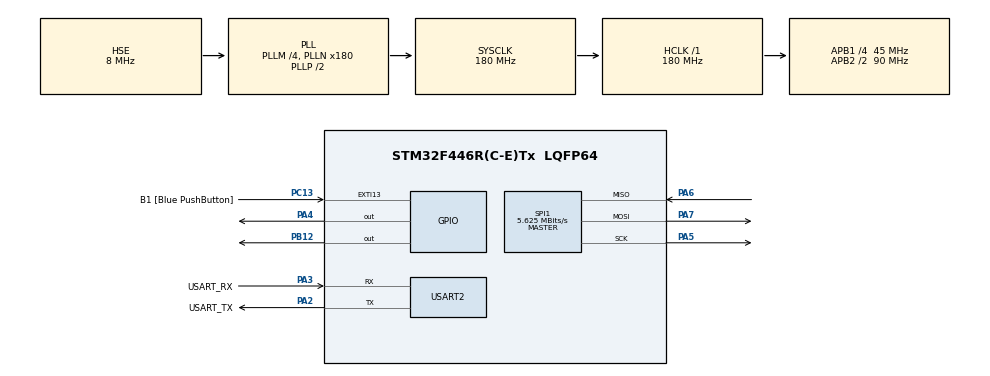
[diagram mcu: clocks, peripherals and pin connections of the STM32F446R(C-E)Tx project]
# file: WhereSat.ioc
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Mcu.Family=STM32F4
Mcu.Name=STM32F446R(C-E)Tx
Mcu.Package=LQFP64
NVIC.PriorityGroup=NVIC_PRIORITYGROUP_0
PA13.GPIO_Label=TMS
PA13.Mode=Serial_Wire
PA13.Signal=SYS_JTMS-SWDIO
PA14.GPIO_Label=TCK
PA14.Mode=Serial_Wire
PA14.Signal=SYS_JTCK-SWCLK
PA2.GPIO_Label=USART_TX
PA2.Mode=Asynchronous
PA2.Signal=USART2_TX
PA3.GPIO_Label=USART_RX
PA3.Mode=Asynchronous
PA3.Signal=USART2_RX
PA4.Signal=GPIO_Output
PA5.Mode=Full_Duplex_Master
PA5.Signal=SPI1_SCK
PA6.Mode=Full_Duplex_Master
PA6.Signal=SPI1_MISO
PA7.Mode=Full_Duplex_Master
PA7.Signal=SPI1_MOSI
PB12.Signal=GPIO_Output
PB13.Signal=SPI2_SCK
PB14.Signal=SPI2_MISO
PB15.Signal=SPI2_MOSI
PB3.GPIO_Label=SWO
PB3.Signal=SYS_JTDO-SWO
PC13.GPIO_Label=B1 [Blue PushButton]
PC13.GPIO_ModeDefaultEXTI=GPIO_MODE_IT_FALLING
PC13.Signal=GPXTI13
PC14-OSC32_IN.Mode=LSE-External-Oscillator
PC14-OSC32_IN.Signal=RCC_OSC32_IN
PC15-OSC32_OUT.Mode=LSE-External-Oscillator
PC15-OSC32_OUT.Signal=RCC_OSC32_OUT
PH0-OSC_IN.Mode=HSE-External-Oscillator
PH0-OSC_IN.Signal=RCC_OSC_IN
PH1-OSC_OUT.Mode=HSE-External-Oscillator
PH1-OSC_OUT.Signal=RCC_OSC_OUT
ProjectManager.HeapSize=0x200
ProjectManager.StackSize=0x400
ProjectManager.TargetToolchain=STM32CubeIDE
RCC.48MHZClocksFreq_Value=84000000
RCC.AHBFreq_Value=180000000
RCC.APB1CLKDivider=RCC_HCLK_DIV4
RCC.APB1Freq_Value=45000000
RCC.APB1TimFreq_Value=90000000
RCC.APB2CLKDivider=RCC_HCLK_DIV2
RCC.APB2Freq_Value=90000000
RCC.APB2TimFreq_Value=180000000
RCC.CortexFreq_Value=180000000
RCC.FLatency-AdvancedSettings=FLASH_LATENCY_5
RCC.HCLKFreq_Value=180000000
RCC.HSE_VALUE=8000000
RCC.HSI_VALUE=16000000
RCC.PLLM=4
RCC.PLLN=180
RCC.PLLSourceVirtual=RCC_PLLSOURCE_HSE
RCC.SYSCLKFreq_VALUE=180000000
RCC.SYSCLKSource=RCC_SYSCLKSOURCE_PLLCLK
RCC.USBFreq_Value=180000000
RCC.VCOOutputFreq_Value=360000000
SPI1.BaudRatePrescaler=SPI_BAUDRATEPRESCALER_16
SPI1.CalculateBaudRate=5.625 MBits/s
SPI1.Direction=SPI_DIRECTION_2LINES
SPI1.Mode=SPI_MODE_MASTER
SPI1.VirtualType=VM_MASTER
USART2.VirtualMode=VM_ASYNC
board=NUCLEO-F446RE

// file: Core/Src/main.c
/* USER CODE BEGIN Header */
/**
  ******************************************************************************
  * @file           : main.c
  * @brief          : Main program body
  ******************************************************************************
  * @attention
  *
  * Copyright (c) 2026 STMicroelectronics.
  * All rights reserved.
  *
  * This software is licensed under terms that can be found in the LICENSE file
  * in the root directory of this software component.
  * If no LICENSE file comes with this software, it is provided AS-IS.
  *
  ******************************************************************************
  */
/* USER CODE END Header */
#include "main.h"
#include "spi.h"
#include "usart.h"
#include "gpio.h"

/* USER CODE BEGIN Includes */
#include <stdio.h>
#include "fpga_interface.h"
#include "camera_geometry.h"
#include "test_suite.h"
#include "mock_fpga.h"
/* USER CODE END Includes */

void SystemClock_Config(void);

/* USER CODE BEGIN 0 */
/**
 * @brief Redirects standard output (printf) to UART2.
 *
 * This function overrides the weak implementation in the syscalls file.
 * It allows us to use printf() to send debug messages to the PC terminal.
 *
 * @param ch The character to send
 * @return int The character sent
 */
int __io_putchar(int ch) {
    // External handle for UART2 (defined in usart.c)
    extern UART_HandleTypeDef huart2;

    // Transmit 1 byte over UART2 with a 10ms timeout
    HAL_UART_Transmit(&huart2, (uint8_t *)&ch, 1, 10);
    return ch;
}
/* USER CODE END 0 */

int main(void)
{

  /* MCU Configuration--------------------------------------------------------*/

  /* Reset of all peripherals, Initializes the Flash interface and the Systick. */
  HAL_Init();

  /* Configure the system clock */
  SystemClock_Config();

  /* Initialize all configured peripherals */
  MX_GPIO_Init();
  MX_SPI1_Init();
  MX_USART2_UART_Init();
  /* USER CODE BEGIN 2 */
  // Ensure SPI Chip Select (PA4) starts HIGH (Inactive)
  HAL_GPIO_WritePin(GPIOA, GPIO_PIN_4, GPIO_PIN_SET);

  // Day 1 Verification Message
  printf("\r\n====================================\r\n");
  printf(" WHERESAT STAR TRACKER - INITIALIZED\r\n");
  printf(" System Clock: %lu MHz\r\n", HAL_RCC_GetHClockFreq() / 1000000);
  printf(" UART2: 115200 Baud - OK\r\n");
  printf(" SPI1: Master Mode - OK\r\n");
  printf("====================================\r\n");
  test_camera_geometry();
  /* USER CODE END 2 */

  /* Infinite loop */
  /* USER CODE BEGIN WHILE */
    FPGA_Packet_t current_packet;
    Vector3_t star_vectors[MAX_CENTROIDS];

    while (1)
    {
        // --- OPTION A: REAL HARDWARE ---
        // HAL_StatusTypeDef status = fpga_receive_centroids(&current_packet);

        // --- OPTION B: MOCK DATA (Use this for Day 1-5 testing) ---
        load_test_centroids(&current_packet);
        HAL_StatusTypeDef status = HAL_OK;

        if (status == HAL_OK) {
            if (fpga_validate_packet(&current_packet)) {
                // This will now print to your terminal thanks to float support!
                printf("Processed %d valid stars from Mock FPGA.\r\n", current_packet.count);

                for (int i = 0; i < current_packet.count; i++) {
                    star_vectors[i] = pixel_to_vector(current_packet.centroids[i]);

                    if(i == 0) {
                        printf("Star 0 Vector: [%.4f, %.4f, %.4f]\r\n",
                               star_vectors[i].x, star_vectors[i].y, star_vectors[i].z);
                    }
                }
            } else {
                printf("Packet Validation Failed!\r\n");
            }
        }

        HAL_GPIO_TogglePin(GPIOA, GPIO_PIN_5); // Blink LED
        HAL_Delay(2000); // 2 second delay so the terminal isn't flooded
    /* USER CODE END WHILE */

  }
}

void SystemClock_Config(void)
{
  RCC_OscInitTypeDef RCC_OscInitStruct = {0};
  RCC_ClkInitTypeDef RCC_ClkInitStruct = {0};

  /** Configure the main internal regulator output voltage
  */
  __HAL_RCC_PWR_CLK_ENABLE();
  __HAL_PWR_VOLTAGESCALING_CONFIG(PWR_REGULATOR_VOLTAGE_SCALE1);

  /** Initializes the RCC Oscillators according to the specified parameters
  * in the RCC_OscInitTypeDef structure.
  */
  RCC_OscInitStruct.OscillatorType = RCC_OSCILLATORTYPE_HSE;
  RCC_OscInitStruct.HSEState = RCC_HSE_ON;
  RCC_OscInitStruct.PLL.PLLState = RCC_PLL_ON;
  RCC_OscInitStruct.PLL.PLLSource = RCC_PLLSOURCE_HSE;
  RCC_OscInitStruct.PLL.PLLM = 4;
  RCC_OscInitStruct.PLL.PLLN = 180;
  RCC_OscInitStruct.PLL.PLLP = RCC_PLLP_DIV2;
  RCC_OscInitStruct.PLL.PLLQ = 2;
  RCC_OscInitStruct.PLL.PLLR = 2;
  if (HAL_RCC_OscConfig(&RCC_OscInitStruct) != HAL_OK)
  {
    Error_Handler();
  }

  /** Activate the Over-Drive mode
  */
  if (HAL_PWREx_EnableOverDrive() != HAL_OK)
  {
    Error_Handler();
  }

  /** Initializes the CPU, AHB and APB buses clocks
  */
  RCC_ClkInitStruct.ClockType = RCC_CLOCKTYPE_HCLK|RCC_CLOCKTYPE_SYSCLK
                              |RCC_CLOCKTYPE_PCLK1|RCC_CLOCKTYPE_PCLK2;
  RCC_ClkInitStruct.SYSCLKSource = RCC_SYSCLKSOURCE_PLLCLK;
  RCC_ClkInitStruct.AHBCLKDivider = RCC_SYSCLK_DIV1;
  RCC_ClkInitStruct.APB1CLKDivider = RCC_HCLK_DIV4;
  RCC_ClkInitStruct.APB2CLKDivider = RCC_HCLK_DIV2;

  if (HAL_RCC_ClockConfig(&RCC_ClkInitStruct, FLASH_LATENCY_5) != HAL_OK)
  {
    Error_Handler();
  }
}

void Error_Handler(void)
{
  __disable_irq();
  while (1)
  {
  }
}
